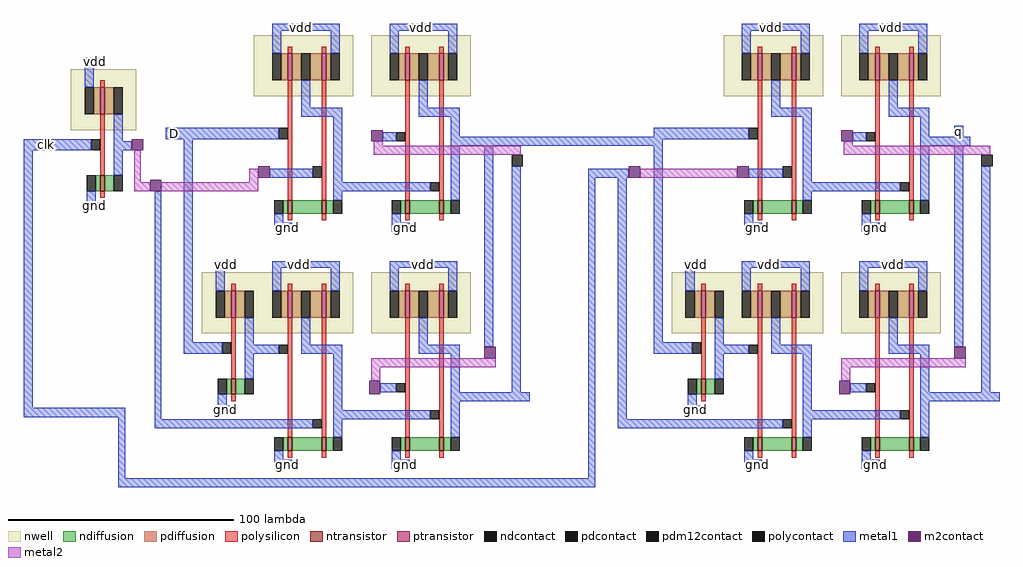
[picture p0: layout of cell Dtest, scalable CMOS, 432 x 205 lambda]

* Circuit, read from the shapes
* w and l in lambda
.subckt Dtest D clk gnd q vdd
M1 n1 clk gnd VSUBS nfet w=7 l=2
M2 n2 D gnd VSUBS nfet w=7 l=2
M3 n3 n2 gnd VSUBS nfet w=6 l=2
M4 n4 D gnd VSUBS nfet w=6 l=2
M5 n5 n1 n3 VSUBS nfet w=6 l=2
M6 n6 n1 n4 VSUBS nfet w=6 l=2
M7 n7 n8 gnd VSUBS nfet w=6 l=2
M8 n9 n10 gnd VSUBS nfet w=6 l=2
M9 n10 n5 n7 VSUBS nfet w=6 l=2
M10 n8 n6 n9 VSUBS nfet w=6 l=2
M11 n11 n8 gnd VSUBS nfet w=7 l=2
M12 n12 n11 gnd VSUBS nfet w=6 l=2
M13 n13 n8 gnd VSUBS nfet w=6 l=2
M14 n14 clk n12 VSUBS nfet w=6 l=2
M15 n15 clk n13 VSUBS nfet w=6 l=2
M16 n16 q gnd VSUBS nfet w=6 l=2
M17 n17 n18 gnd VSUBS nfet w=6 l=2
M18 n18 n14 n16 VSUBS nfet w=6 l=2
M19 q n15 n17 VSUBS nfet w=6 l=2
M20 n1 clk vdd n19 pfet w=12 l=2
M21 n2 D vdd n20 pfet w=12 l=2
M22 n5 n2 vdd n20 pfet w=12 l=2
M23 n6 D vdd n21 pfet w=12 l=2
M24 vdd n1 n5 n20 pfet w=12 l=2
M25 vdd n1 n6 n21 pfet w=12 l=2
M26 n10 n8 vdd n22 pfet w=12 l=2
M27 n8 n10 vdd n23 pfet w=12 l=2
M28 vdd n5 n10 n22 pfet w=12 l=2
M29 vdd n6 n8 n23 pfet w=12 l=2
M30 n11 n8 vdd n24 pfet w=12 l=2
M31 n14 n11 vdd n24 pfet w=12 l=2
M32 n15 n8 vdd n25 pfet w=12 l=2
M33 vdd clk n14 n24 pfet w=12 l=2
M34 vdd clk n15 n25 pfet w=12 l=2
M35 n18 q vdd n26 pfet w=12 l=2
M36 q n18 vdd n27 pfet w=12 l=2
M37 vdd n14 n18 n26 pfet w=12 l=2
M38 vdd n15 q n27 pfet w=12 l=2
.ends

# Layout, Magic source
magic
tech scmos
<< nwell >>
rect -91 105 -62 132
rect -10 120 34 147
rect 42 120 86 147
rect 198 120 242 147
rect 250 120 294 147
rect -33 15 34 42
rect 42 15 86 42
rect 175 15 242 42
rect 250 15 294 42
<< ntransistor >>
rect -78 78 -76 85
rect 5 68 7 74
rect 20 68 22 74
rect 57 68 59 74
rect 72 68 74 74
rect 213 68 215 74
rect 228 68 230 74
rect 265 68 267 74
rect 280 68 282 74
rect -20 -12 -18 -5
rect 188 -12 190 -5
rect 5 -37 7 -31
rect 20 -37 22 -31
rect 57 -37 59 -31
rect 72 -37 74 -31
rect 213 -37 215 -31
rect 228 -37 230 -31
rect 265 -37 267 -31
rect 280 -37 282 -31
<< ptransistor >>
rect 5 127 7 139
rect 20 127 22 139
rect 57 127 59 139
rect 72 127 74 139
rect 213 127 215 139
rect 228 127 230 139
rect 265 127 267 139
rect 280 127 282 139
rect -78 112 -76 124
rect -20 22 -18 34
rect 5 22 7 34
rect 20 22 22 34
rect 57 22 59 34
rect 72 22 74 34
rect 188 22 190 34
rect 213 22 215 34
rect 228 22 230 34
rect 265 22 267 34
rect 280 22 282 34
<< ndiffusion >>
rect -80 78 -78 85
rect -76 78 -72 85
rect 3 68 5 74
rect 7 68 20 74
rect 22 68 25 74
rect 55 68 57 74
rect 59 68 72 74
rect 74 68 77 74
rect 211 68 213 74
rect 215 68 228 74
rect 230 68 233 74
rect 263 68 265 74
rect 267 68 280 74
rect 282 68 285 74
rect -22 -12 -20 -5
rect -18 -12 -14 -5
rect 186 -12 188 -5
rect 190 -12 194 -5
rect 3 -37 5 -31
rect 7 -37 20 -31
rect 22 -37 25 -31
rect 55 -37 57 -31
rect 59 -37 72 -31
rect 74 -37 77 -31
rect 211 -37 213 -31
rect 215 -37 228 -31
rect 230 -37 233 -31
rect 263 -37 265 -31
rect 267 -37 280 -31
rect 282 -37 285 -31
<< pdiffusion >>
rect 2 127 5 139
rect 7 127 11 139
rect 15 127 20 139
rect 22 127 24 139
rect 54 127 57 139
rect 59 127 63 139
rect 67 127 72 139
rect 74 127 76 139
rect 210 127 213 139
rect 215 127 219 139
rect 223 127 228 139
rect 230 127 232 139
rect 262 127 265 139
rect 267 127 271 139
rect 275 127 280 139
rect 282 127 284 139
rect -81 112 -78 124
rect -76 112 -72 124
rect -23 22 -20 34
rect -18 22 -14 34
rect 2 22 5 34
rect 7 22 11 34
rect 15 22 20 34
rect 22 22 24 34
rect 54 22 57 34
rect 59 22 63 34
rect 67 22 72 34
rect 74 22 76 34
rect 185 22 188 34
rect 190 22 194 34
rect 210 22 213 34
rect 215 22 219 34
rect 223 22 228 34
rect 230 22 232 34
rect 262 22 265 34
rect 267 22 271 34
rect 275 22 280 34
rect 282 22 284 34
<< ndcontact >>
rect -84 78 -80 85
rect -72 78 -68 85
rect -1 68 3 74
rect 25 68 29 74
rect 51 68 55 74
rect 77 68 81 74
rect 207 68 211 74
rect 233 68 237 74
rect 259 68 263 74
rect 285 68 289 74
rect -26 -12 -22 -5
rect -14 -12 -10 -5
rect 182 -12 186 -5
rect 194 -12 198 -5
rect -1 -37 3 -31
rect 25 -37 29 -31
rect 51 -37 55 -31
rect 77 -37 81 -31
rect 207 -37 211 -31
rect 233 -37 237 -31
rect 259 -37 263 -31
rect 285 -37 289 -31
<< pdcontact >>
rect -2 127 2 139
rect 11 127 15 139
rect 24 127 28 139
rect 50 127 54 139
rect 63 127 67 139
rect 76 127 80 139
rect 206 127 210 139
rect 219 127 223 139
rect 232 127 236 139
rect 258 127 262 139
rect 271 127 275 139
rect 284 127 288 139
rect -85 112 -81 124
rect -72 112 -68 124
rect -27 22 -23 34
rect -14 22 -10 34
rect -2 22 2 34
rect 11 22 15 34
rect 24 22 28 34
rect 50 22 54 34
rect 63 22 67 34
rect 76 22 80 34
rect 181 22 185 34
rect 194 22 198 34
rect 206 22 210 34
rect 219 22 223 34
rect 232 22 236 34
rect 258 22 262 34
rect 271 22 275 34
rect 284 22 288 34
<< polysilicon >>
rect 5 139 7 142
rect 20 139 22 142
rect 57 139 59 142
rect 72 139 74 142
rect 213 139 215 142
rect 228 139 230 142
rect 265 139 267 142
rect 280 139 282 142
rect -78 124 -76 127
rect -78 85 -76 112
rect -78 75 -76 78
rect 5 74 7 127
rect 20 74 22 127
rect 57 74 59 127
rect 72 74 74 127
rect 213 74 215 127
rect 228 74 230 127
rect 265 74 267 127
rect 280 74 282 127
rect 5 65 7 68
rect 20 65 22 68
rect 57 65 59 68
rect 72 65 74 68
rect 213 65 215 68
rect 228 65 230 68
rect 265 65 267 68
rect 280 65 282 68
rect -20 34 -18 37
rect 5 34 7 37
rect 20 34 22 37
rect 57 34 59 37
rect 72 34 74 37
rect 188 34 190 37
rect 213 34 215 37
rect 228 34 230 37
rect 265 34 267 37
rect 280 34 282 37
rect -20 -5 -18 22
rect -20 -15 -18 -12
rect 5 -31 7 22
rect 20 -31 22 22
rect 57 -31 59 22
rect 72 -31 74 22
rect 188 -5 190 22
rect 188 -15 190 -12
rect 213 -31 215 22
rect 228 -31 230 22
rect 265 -31 267 22
rect 280 -31 282 22
rect 5 -40 7 -37
rect 20 -40 22 -37
rect 57 -40 59 -37
rect 72 -40 74 -37
rect 213 -40 215 -37
rect 228 -40 230 -37
rect 265 -40 267 -37
rect 280 -40 282 -37
<< polycontact >>
rect -82 96 -78 101
rect 1 101 5 106
rect 16 84 20 89
rect 53 100 57 104
rect 68 78 72 82
rect 209 101 213 106
rect 224 84 228 89
rect 261 100 265 104
rect 276 78 280 82
rect -24 6 -20 11
rect 1 6 5 10
rect 16 -27 20 -23
rect 53 -11 57 -7
rect 68 -23 72 -19
rect 184 6 188 11
rect 209 6 213 10
rect 224 -27 228 -23
rect 261 -11 265 -7
rect 276 -23 280 -19
<< metal1 >>
rect -2 149 28 152
rect -2 139 2 149
rect 24 139 28 149
rect -85 134 -77 137
rect -85 124 -81 134
rect 50 149 80 152
rect 50 139 54 149
rect 76 139 80 149
rect 206 149 236 152
rect 206 139 210 149
rect 232 139 236 149
rect 258 149 288 152
rect 258 139 262 149
rect 284 139 288 149
rect -112 96 -82 101
rect -72 100 -68 112
rect 11 115 15 127
rect 63 115 67 127
rect 219 115 223 127
rect 271 115 275 127
rect 11 111 29 115
rect 63 111 81 115
rect 219 111 237 115
rect 271 111 289 115
rect -49 101 1 106
rect -72 96 -64 100
rect -112 -18 -108 96
rect -72 85 -68 96
rect -84 73 -80 78
rect -84 70 -76 73
rect -112 -22 -67 -18
rect -70 -49 -67 -22
rect -54 -23 -51 78
rect -41 11 -37 101
rect -3 84 16 88
rect 25 82 29 111
rect 47 100 53 104
rect 77 102 81 111
rect 167 102 209 106
rect 77 101 209 102
rect 77 98 171 101
rect 25 78 68 82
rect 25 74 29 78
rect 77 74 81 98
rect -1 64 3 68
rect 51 64 55 68
rect -1 60 7 64
rect 51 60 59 64
rect -27 44 -19 47
rect -2 44 28 47
rect -27 34 -23 44
rect -2 34 2 44
rect 24 34 28 44
rect 50 44 80 47
rect 50 34 54 44
rect 76 34 80 44
rect -41 6 -24 11
rect -14 10 -10 22
rect 11 10 15 22
rect 63 10 67 22
rect -14 6 1 10
rect 11 6 29 10
rect 63 6 81 10
rect -14 -5 -10 6
rect -26 -17 -22 -12
rect -26 -20 -18 -17
rect 25 -19 29 6
rect 46 -11 53 -7
rect 77 -11 81 6
rect 92 9 96 98
rect 104 -11 108 89
rect 138 84 156 88
rect 77 -15 112 -11
rect 25 -23 68 -19
rect -54 -27 16 -23
rect 25 -31 29 -23
rect 77 -31 81 -15
rect -1 -41 3 -37
rect 51 -41 55 -37
rect -1 -45 7 -41
rect 51 -45 59 -41
rect 138 -49 141 84
rect 151 -23 155 84
rect 167 11 171 98
rect 209 84 224 88
rect 233 82 237 111
rect 255 100 261 104
rect 285 102 289 111
rect 300 102 304 107
rect 285 98 307 102
rect 233 78 276 82
rect 233 74 237 78
rect 285 74 289 98
rect 207 64 211 68
rect 259 64 263 68
rect 207 60 215 64
rect 259 60 267 64
rect 181 44 189 47
rect 206 44 236 47
rect 181 34 185 44
rect 206 34 210 44
rect 232 34 236 44
rect 258 44 288 47
rect 258 34 262 44
rect 284 34 288 44
rect 167 6 184 11
rect 194 10 198 22
rect 219 10 223 22
rect 271 10 275 22
rect 194 6 209 10
rect 219 6 237 10
rect 271 6 289 10
rect 194 -5 198 6
rect 182 -17 186 -12
rect 182 -20 190 -17
rect 233 -19 237 6
rect 254 -11 261 -7
rect 285 -11 289 6
rect 300 9 304 98
rect 312 -11 316 89
rect 285 -15 320 -11
rect 233 -23 276 -19
rect 151 -27 224 -23
rect 233 -31 237 -23
rect 285 -31 289 -15
rect 207 -41 211 -37
rect 259 -41 263 -37
rect 207 -45 215 -41
rect 259 -45 267 -41
rect -70 -53 141 -49
<< m2contact >>
rect -64 96 -59 101
rect -56 78 -51 83
rect -8 84 -3 89
rect 42 100 47 105
rect 41 -12 46 -6
rect 92 4 97 9
rect 156 84 161 89
rect 204 84 209 89
rect 250 100 255 105
rect 249 -12 254 -6
rect 300 4 305 9
<< pdm12contact >>
rect 104 89 109 94
rect 312 89 317 94
<< metal2 >>
rect 43 98 47 100
rect 251 98 255 100
rect -63 82 -60 96
rect 43 94 108 98
rect 251 94 316 98
rect -63 78 -56 82
rect -12 82 -8 88
rect 161 84 204 88
rect -51 78 -8 82
rect 42 0 97 4
rect 250 0 305 4
rect 42 -6 46 0
rect 250 -6 254 0
<< labels >>
rlabel metal1 3 -45 7 -41 1 gnd
rlabel metal1 55 -45 59 -41 1 gnd
rlabel metal1 3 60 7 64 1 gnd
rlabel metal1 55 60 59 64 1 gnd
rlabel metal1 9 149 13 152 5 vdd
rlabel metal1 62 149 66 152 5 vdd
rlabel metal1 -24 44 -20 47 1 vdd
rlabel metal1 8 44 12 47 1 vdd
rlabel metal1 63 44 67 47 1 vdd
rlabel metal1 -24 -20 -21 -17 1 gnd
rlabel metal1 211 -45 215 -41 1 gnd
rlabel metal1 263 -45 267 -41 1 gnd
rlabel metal1 211 60 215 64 1 gnd
rlabel metal1 263 60 267 64 1 gnd
rlabel metal1 217 149 221 152 5 vdd
rlabel metal1 270 149 274 152 5 vdd
rlabel metal1 184 44 188 47 1 vdd
rlabel metal1 216 44 220 47 1 vdd
rlabel metal1 271 44 275 47 1 vdd
rlabel metal1 184 -20 187 -17 1 gnd
rlabel metal1 -82 134 -78 137 1 vdd
rlabel metal1 -82 70 -79 73 1 gnd
rlabel metal1 -104 96 -100 101 1 clk
rlabel metal1 -47 101 -43 106 1 D
rlabel metal1 300 102 304 107 1 q
<< end >>
